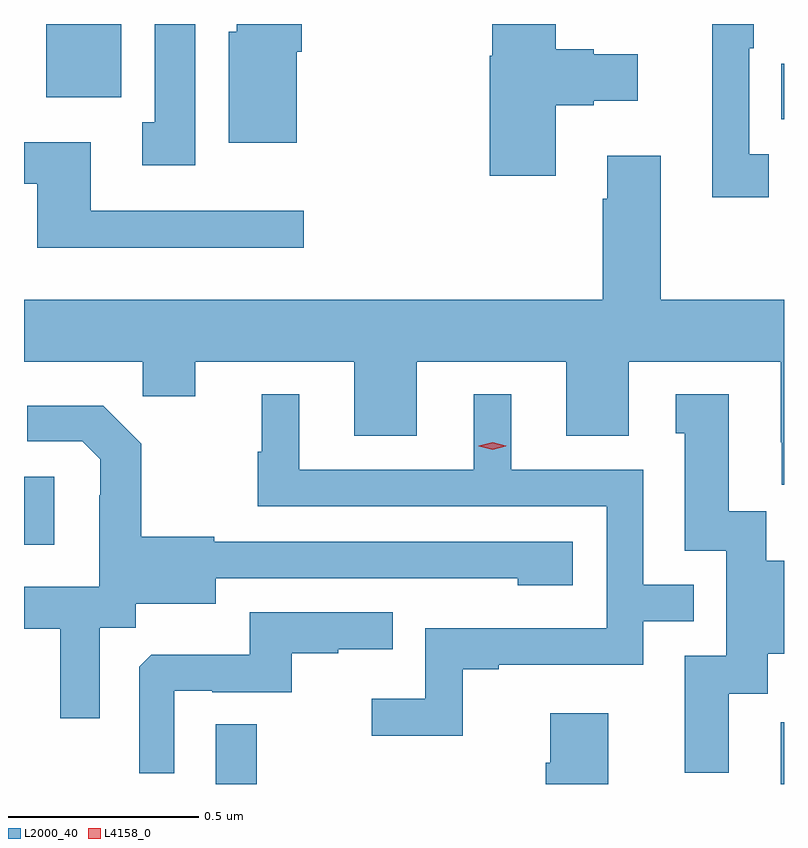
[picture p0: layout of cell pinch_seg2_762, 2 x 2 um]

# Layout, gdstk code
import gdstk
lib = gdstk.Library(unit=1e-6, precision=1e-09)
def R(c, l, rs):  # rectangles x0, y0, x1, y1
    for r in rs: c.add(gdstk.rectangle(r[:2], r[2:], *l))
def P(c, l, *ps):  # polygons
    for p in ps: c.add(gdstk.Polygon(p, *l))
L2000_40 = (2000, 40)
L4158_0 = (4158, 0)

pinch_seg2_762 = lib.new_cell('pinch_seg2_762')
R(pinch_seg2_762, L2000_40, [(869.472,657.181,869.581,657.338), (870.959,657.181,870.968,657.343), (868.968,657.81,869.047,657.99), (870.961,658.93,870.968,659.077), (869.027,658.988,869.224,659.181)])
P(pinch_seg2_762, L2000_40, [(869.419,659.181),(869.312,659.181),(869.312,658.922),(869.279,658.922),(869.279,658.809),(869.419,658.809)],
  [(869.686,659.108),(869.699,659.108),(869.699,659.181),(869.528,659.181),(869.528,659.16),(869.507,659.16),(869.507,658.868),(869.686,658.868)],
  [(870.928,658.838),(870.876,658.838),(870.876,659.117),(870.889,659.117),(870.889,659.181),(870.779,659.181),(870.779,658.725),(870.928,658.725)],
  [(870.367,658.967),(870.467,658.967),(870.467,658.979),(870.583,658.979),(870.583,659.101),(870.467,659.101),(870.467,659.114),(870.367,659.114),(870.367,659.181),(870.2,659.181),(870.2,659.097),(870.194,659.097),(870.194,658.782),(870.367,658.782)],
  [(869.704,658.689),(869.143,658.689),(869.143,658.87),(868.968,658.87),(868.968,658.761),(869.003,658.761),(869.003,658.592),(869.704,658.592)],
  [(870.643,658.834),(870.503,658.834),(870.503,658.721),(870.491,658.721),(870.491,658.456),(868.968,658.456),(868.968,658.292),(869.281,658.292),(869.281,658.202),(869.419,658.202),(869.419,658.292),(869.837,658.292),(869.837,658.098),(870.001,658.098),(870.001,658.292),(870.395,658.292),(870.395,658.098),(870.559,658.098),(870.559,658.292),(870.959,658.292),(870.959,658.081),(870.962,658.081),(870.962,657.969),(870.968,657.969),(870.968,658.456),(870.643,658.456)],
  [(870.123,657.483),(870.217,657.483),(870.217,657.495),(870.597,657.495),(870.597,657.609),(870.731,657.609),(870.731,657.705),(870.597,657.705),(870.597,658.008),(870.25,658.008),(870.25,658.207),(870.152,658.207),(870.152,658.008),(869.692,658.008),(869.692,658.207),(869.594,658.207),(869.594,658.056),(869.583,658.056),(869.583,657.912),(870.501,657.912),(870.501,657.591),(870.024,657.591),(870.024,657.406),(869.883,657.406),(869.883,657.308),(870.123,657.308)],
  [(870.823,657.418),(870.925,657.418),(870.925,657.524),(870.968,657.524),(870.968,657.769),(870.921,657.769),(870.921,657.899),(870.823,657.899),(870.823,658.207),(870.683,658.207),(870.683,658.104),(870.707,658.104),(870.707,657.795),(870.816,657.795),(870.816,657.519),(870.707,657.519),(870.707,657.21),(870.823,657.21)],
  [(869.167,657.592),(869.262,657.592),(869.262,657.656),(869.473,657.656),(869.473,657.723),(870.031,657.723),(870.031,657.722),(870.267,657.722),(870.267,657.704),(870.412,657.704),(870.412,657.819),(869.469,657.819),(869.469,657.832),(869.277,657.832),(869.277,658.077),(869.177,658.177),(868.977,658.177),(868.977,658.083),(869.121,658.083),(869.168,658.036),(869.168,657.941),(869.166,657.941),(869.166,657.7),(868.968,657.7),(868.968,657.59),(869.063,657.59),(869.063,657.354),(869.167,657.354)],
  [(869.364,657.426),(869.464,657.426),(869.464,657.423),(869.672,657.423),(869.672,657.525),(869.795,657.525),(869.795,657.536),(869.939,657.536),(869.939,657.633),(869.562,657.633),(869.562,657.521),(869.303,657.521),(869.271,657.489),(869.271,657.209),(869.364,657.209)],
  [(870.505,657.367),(870.353,657.367),(870.353,657.237),(870.341,657.237),(870.341,657.181),(870.505,657.181)])
P(pinch_seg2_762, L4158_0, [(870.201,658.061),(870.165,658.07),(870.165,658.071),(870.165,658.071),(870.201,658.081),(870.236,658.071),(870.237,658.071),(870.236,658.07)])

lib.write_gds('pinch_seg2_762.gds')
